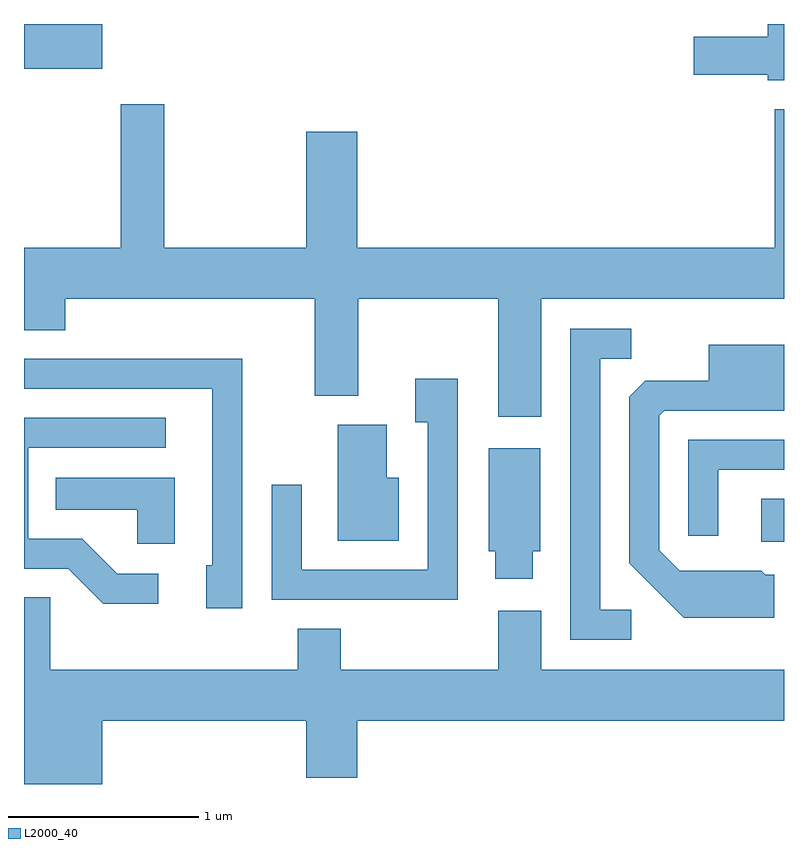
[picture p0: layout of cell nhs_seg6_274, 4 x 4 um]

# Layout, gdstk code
import gdstk
lib = gdstk.Library(unit=1e-6, precision=1e-09)
def R(c, l, rs):  # rectangles x0, y0, x1, y1
    for r in rs: c.add(gdstk.rectangle(r[:2], r[2:], *l))
def P(c, l, *ps):  # polygons
    for p in ps: c.add(gdstk.Polygon(p, *l))
L2000_40 = (2000, 40)

nhs_seg6_274 = lib.new_cell('nhs_seg6_274')
R(nhs_seg6_274, L2000_40, [(197.491,1535.436,197.611,1535.664), (193.611,1537.926,194.024,1538.162)])
P(nhs_seg6_274, L2000_40, [(197.611,1538.162),(197.526,1538.162),(197.526,1538.094),(197.136,1538.094),(197.136,1537.896),(197.526,1537.896),(197.526,1537.866),(197.611,1537.866)],
  [(196.334,1536.716),(197.611,1536.716),(197.611,1537.714),(197.561,1537.714),(197.561,1536.984),(195.364,1536.984),(195.364,1537.594),(195.096,1537.594),(195.096,1536.984),(194.349,1536.984),(194.349,1537.739),(194.121,1537.739),(194.121,1536.984),(193.611,1536.984),(193.611,1536.551),(193.829,1536.551),(193.829,1536.716),(195.141,1536.716),(195.141,1536.206),(195.369,1536.206),(195.369,1536.716),(196.106,1536.716),(196.106,1536.096),(196.334,1536.096)],
  [(196.808,1535.079),(196.644,1535.079),(196.644,1536.401),(196.808,1536.401),(196.808,1536.559),(196.486,1536.559),(196.486,1534.921),(196.808,1534.921)],
  [(197.559,1535.264),(197.512,1535.264),(197.492,1535.284),(197.062,1535.284),(196.954,1535.392),(196.954,1536.099),(196.982,1536.126),(197.611,1536.126),(197.611,1536.474),(197.216,1536.474),(197.216,1536.284),(196.882,1536.284),(196.796,1536.199),(196.796,1535.324),(197.084,1535.036),(197.559,1535.036)],
  [(194.759,1536.399),(193.611,1536.399),(193.611,1536.241),(194.601,1536.241),(194.601,1535.314),(194.571,1535.314),(194.571,1535.086),(194.759,1535.086)],
  [(195.894,1536.294),(195.671,1536.294),(195.671,1536.066),(195.736,1536.066),(195.736,1535.289),(195.074,1535.289),(195.074,1535.738),(194.916,1535.738),(194.916,1535.131),(195.894,1535.131)],
  [(194.318,1535.269),(194.102,1535.269),(193.917,1535.454),(193.634,1535.454),(193.634,1535.931),(194.358,1535.931),(194.358,1536.089),(193.611,1536.089),(193.611,1535.296),(193.844,1535.296),(194.029,1535.111),(194.318,1535.111)],
  [(195.584,1535.774),(195.519,1535.774),(195.519,1536.054),(195.261,1536.054),(195.261,1535.441),(195.584,1535.441)],
  [(197.264,1535.816),(197.611,1535.816),(197.611,1535.974),(197.106,1535.974),(197.106,1535.468),(197.264,1535.468)],
  [(196.289,1535.386),(196.329,1535.386),(196.329,1535.929),(196.056,1535.929),(196.056,1535.386),(196.091,1535.386),(196.091,1535.241),(196.289,1535.241)],
  [(194.404,1535.774),(193.778,1535.774),(193.778,1535.606),(194.206,1535.606),(194.206,1535.426),(194.404,1535.426)],
  [(194.024,1534.496),(195.096,1534.496),(195.096,1534.196),(195.364,1534.196),(195.364,1534.496),(197.611,1534.496),(197.611,1534.764),(196.334,1534.764),(196.334,1535.074),(196.106,1535.074),(196.106,1534.764),(195.279,1534.764),(195.279,1534.979),(195.051,1534.979),(195.051,1534.764),(193.749,1534.764),(193.749,1535.144),(193.611,1535.144),(193.611,1534.162),(194.024,1534.162)])

lib.write_gds('nhs_seg6_274.gds')
